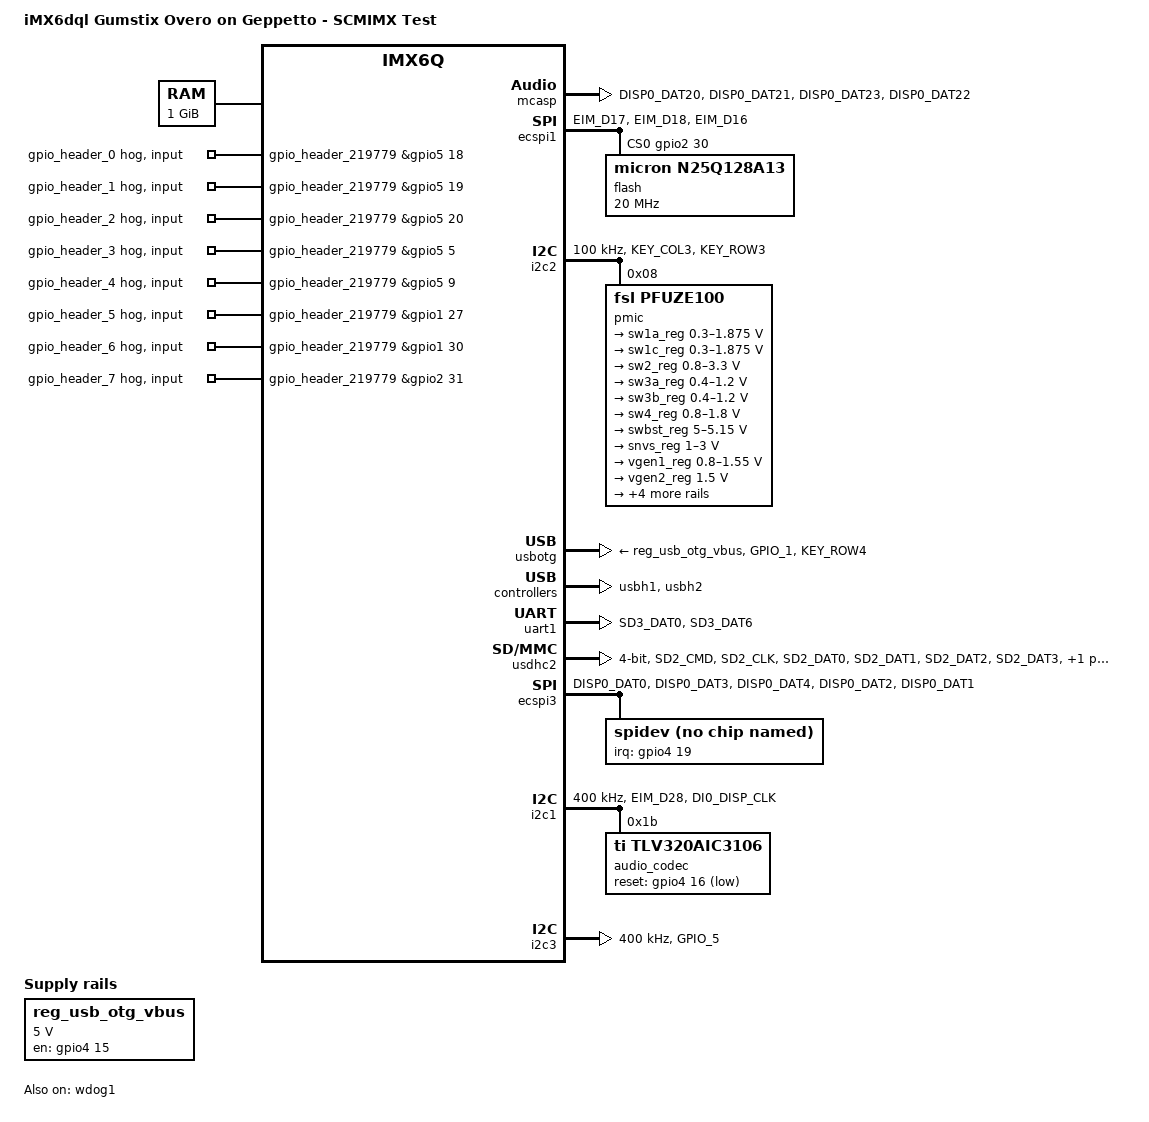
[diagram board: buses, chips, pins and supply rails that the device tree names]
/*
* Copyright (C) 2017 Gumstix, Inc. - https://www.gumstix.com/
*
* This program is free software; you can redistribute it and/or modify
* it under the terms of the GNU General Public License version 2 as
* published by the Free Software Foundation.
*/

/dts-v1/;

#include <dt-bindings/input/input.h>
#include <dt-bindings/interrupt-controller/irq.h>
#include <dt-bindings/gpio/gpio.h>
#define PIN_INPUT 0x1b0b1
#include "imx6q.dtsi"

/ {
    model = "iMX6dql Gumstix Overo on Geppetto - SCMIMX Test";
    compatible = "gumstix,imx6-scmimx-test", "gumstix,imx_scm", "fsl,imx6q";

    sound-hdmi {
		compatible = "fsl,imx6q-audio-hdmi", "fsl,imx-audio-hdmi";
		model = "imx-audio-hdmi";
		hdmi-controller = <&hdmi_audio>;
	};
    aliases {
		mxcfb0 = &mxcfb1;
		mxcfb1 = &mxcfb2;
		mxcfb2 = &mxcfb3;
		mxcfb3 = &mxcfb4;
	};

    soc {
        busfreq {
            fsl,max_ddr_freq = <400000000>;
            status = "okay";
        };
    };


	chosen {
		stdout-path = &uart1;
	};

	memory: memory {
		linux,usable-memory = <0x10000000 0x20000000
			       0x80000000 0x20000000>;
		reg = <0x10000000 0x40000000>;
	};

	regulators {
		compatible = "simple-bus";
		#address-cells = <1>;
		#size-cells = <0>;

		reg_usb_otg_vbus: regulator@0 {
			compatible = "regulator-fixed";
			reg = <0>;
			regulator-name = "usb_otg_vbus";
			regulator-min-microvolt = <5000000>;
			regulator-max-microvolt = <5000000>;
			gpio = <&gpio4 15 0>;
			enable-active-high;
		};
	};


	mxcfb1: fb@0 {
		compatible = "fsl,mxc_sdc_fb";
		disp_dev = "hdmi";
		interface_pix_fmt = "RGB24";
		mode_str ="1920x1080M@60";
		default_bpp = <24>;
		int_clk = <0>;
		late_init = <0>;
		status = "disabled";
	};

	mxcfb2: fb@1 {
		compatible = "fsl,mxc_sdc_fb";
		disp_dev = "hdmi";
		interface_pix_fmt = "RGB24";
		mode_str ="1920x1080M@60";
		default_bpp = <24>;
		int_clk = <0>;
		late_init = <0>;
		status = "disabled";
	};

	mxcfb3: fb@2 {
		compatible = "fsl,mxc_sdc_fb";
		disp_dev = "lcd";
		interface_pix_fmt = "RGB565";
		mode_str ="CLAA-WVGA";
		default_bpp = <16>;
		int_clk = <0>;
		late_init = <0>;
		status = "disabled";
	};

	mxcfb4: fb@3 {
		compatible = "fsl,mxc_sdc_fb";
		disp_dev = "ldb";
		interface_pix_fmt = "RGB666";
		default_bpp = <16>;
		int_clk = <0>;
		late_init = <0>;
		status = "disabled";
	};


    mcasp: mcasp {
        status = "disabled";
    };

    sound: sound_iface {
        status = "okay";
        compatible = "ti,da830-evm-audio";
        ti,mcasp-controller = <&mcasp>;
        ti,audio-routing = "Headphone Jack",
		"HPLOUT",
		"Headphone Jack",
		"HPROUT",
		"LINE1L",
		"Line In",
		"LINE1R",
		"Line In";
        ti,audio-codec = "audio_codec";
        ti,model = "AM437x-SK-EVM";
        ti,codec-clock-rate = <12000000>;
    };
    gpio_header_219779 {
        status = "okay";
        pinctrl-names = "default";
        pinctrl-0 = <&gpio_header_219779_default>;
        type = "gpio_header";

        gpio_header_0 {
            label = "gpio_header_0";
            type = "gpio_header";
            gpios = <&gpio5 18 0>;
            gpio-hog;
            input;
        };

        gpio_header_1 {
            label = "gpio_header_1";
            type = "gpio_header";
            gpios = <&gpio5 19 0>;
            gpio-hog;
            input;
        };

        gpio_header_2 {
            label = "gpio_header_2";
            type = "gpio_header";
            gpios = <&gpio5 20 0>;
            gpio-hog;
            input;
        };

        gpio_header_3 {
            label = "gpio_header_3";
            type = "gpio_header";
            gpios = <&gpio5 5 0>;
            gpio-hog;
            input;
        };

        gpio_header_4 {
            label = "gpio_header_4";
            type = "gpio_header";
            gpios = <&gpio5 9 0>;
            gpio-hog;
            input;
        };

        gpio_header_5 {
            label = "gpio_header_5";
            type = "gpio_header";
            gpios = <&gpio1 27 0>;
            gpio-hog;
            input;
        };

        gpio_header_6 {
            label = "gpio_header_6";
            type = "gpio_header";
            gpios = <&gpio1 30 0>;
            gpio-hog;
            input;
        };

        gpio_header_7 {
            label = "gpio_header_7";
            type = "gpio_header";
            gpios = <&gpio2 31 0>;
            gpio-hog;
            input;
        };
    };

};


&cpu0 {
	arm-supply = <&reg_arm>;
	soc-supply = <&reg_soc>;
};

&clks {
	fsl,ldb-di0-parent = <&clks IMX6QDL_CLK_PLL2_PFD0_352M>;
	fsl,ldb-di1-parent = <&clks IMX6QDL_CLK_PLL2_PFD0_352M>;
};

&ecspi1 {
	fsl,spi-num-chipselects = <1>;
	cs-gpios = <&gpio2 30 0>;
	pinctrl-names = "default";
	pinctrl-0 = <&pinctrl_ecspi1>;
	status = "okay";
	flash: m25p80@0 {
		#address-cells = <1>;
		#size-cells = <1>;
		compatible = "micron,n25q128a13";
		spi-max-frequency = <20000000>;
		reg = <0>;
	};
};



&i2c2 {
	clock-frequency = <100000>;
	pinctrl-names = "default";
	pinctrl-0 = <&pinctrl_i2c2>;
	status = "okay";

	pmic: pfuze100@08 {
		compatible = "fsl,pfuze100";
		reg = <0x08>;
		regulators {
			sw1a_reg: sw1ab {
				regulator-min-microvolt = <300000>;
				regulator-max-microvolt = <1875000>;
				regulator-boot-on;
				regulator-always-on;
				regulator-ramp-delay = <6250>;
			};

			sw1c_reg: sw1c {
				regulator-min-microvolt = <300000>;
				regulator-max-microvolt = <1875000>;
				regulator-boot-on;
				regulator-always-on;
				regulator-ramp-delay = <6250>;
			};

			sw2_reg: sw2 {
				regulator-min-microvolt = <800000>;
				regulator-max-microvolt = <3300000>;
				regulator-boot-on;
				regulator-always-on;
			};

			sw3a_reg: sw3a {
				regulator-min-microvolt = <400000>;
				regulator-max-microvolt = <1200000>;
				regulator-boot-on;
				regulator-always-on;
			};

			sw3b_reg: sw3b {
				regulator-min-microvolt = <400000>;
				regulator-max-microvolt = <1200000>;
				regulator-boot-on;
				regulator-always-on;
			};

			sw4_reg: sw4 {
				regulator-min-microvolt = <800000>;
				regulator-max-microvolt = <1800000>;
				regulator-boot-on;
				regulator-always-on;
			};

			swbst_reg: swbst {
				regulator-min-microvolt = <5000000>;
				regulator-max-microvolt = <5150000>;
				regulator-boot-on;
				regulator-always-on;
			};

			snvs_reg: vsnvs {
				regulator-min-microvolt = <1000000>;
				regulator-max-microvolt = <3000000>;
				regulator-boot-on;
				regulator-always-on;
			};

			vref_reg: vrefddr {
				regulator-boot-on;
				regulator-always-on;
			};

			vgen1_reg: vgen1 {
				regulator-min-microvolt = <800000>;
				regulator-max-microvolt = <1550000>;
				regulator-always-on;
			};

			vgen2_reg: vgen2 {
				regulator-min-microvolt = <0x16e360>;
				regulator-max-microvolt = <0x16e360>;
				regulator-always-on;
			};

			vgen3_reg: vgen3 {
				regulator-min-microvolt = <0x325aa0>;
				regulator-max-microvolt = <0x325aa0>;
				regulator-always-on;
			};

			vgen4_reg: vgen4 {
				regulator-min-microvolt = <1800000>;
				regulator-max-microvolt = <2500000>;
				regulator-always-on;
			};

			vgen5_reg: vgen5 {
				regulator-min-microvolt = <1800000>;
				regulator-max-microvolt = <3300000>;
				regulator-always-on;
			};

			vgen6_reg: vgen6 {
				regulator-min-microvolt = <1800000>;
				regulator-max-microvolt = <3150000>;
				regulator-always-on;
			};
		};
	};
};

&usbotg {
	vbus-supply = <&reg_usb_otg_vbus>;
	pinctrl-names = "default";
	pinctrl-0 = <&pinctrl_usbotg>;
	disable-over-current;
	srp-disable;
	hnp-disable;
	adp-disable;
	status = "okay";
};

&usbphy1 {
	tx-d-cal = <0x5>;
};

&usbphy2 {
	tx-d-cal = <0x5>;
};

&usbh1 {
	status = "okay";
};

&usbh2 {
	status = "okay";
};

&ecspi1 {
	fsl,spi-num-chipselects = <1>;
	cs-gpios = <&gpio2 30 0>;
	pinctrl-names = "default";
	pinctrl-0 = <&pinctrl_ecspi1>;
	status = "okay";
	flash: m25p80@0 {
		#address-cells = <1>;
		#size-cells = <1>;
		compatible = "micron,n25q128a13";
		spi-max-frequency = <20000000>;
		reg = <0>;
	};
};
&uart1 {
	pinctrl-names = "default";
	pinctrl-0 = <&pinctrl_uart1>;
	status = "okay";
};



&usdhc2 {
	pinctrl-names = "default";
	pinctrl-0 = <&pinctrl_usdhc2>;
	bus-width = <4>;
	cd-gpios = <&gpio1 4 GPIO_ACTIVE_LOW>;
	no-1-8-v;
	keep-power-in-suspend;
	enable-sdio-wakeup;
	status = "okay";
};

&gpc {
	/* use ldo-enable, u-boot will check it and configure */
	fsl,ldo-bypass = <0>;
	/* watchdog select of reset source */
	fsl,wdog-reset = <1>;
};

&wdog1 {
	status = "okay";
};

&wdog2 {
	status = "disabled";
};

&fec {
	local-mac-address = [06 CD 8C E9 08 0D];
};


// spi_buses device

&ecspi3 {
    status = "okay";
    pinctrl-names = "default";
    pinctrl-0 = <&ecspi3_default>;
    type = "spi";

        spidev {
            compatible = "spidev";
            type = "spi";
    
            interrupt-parent = <&gpio4>;
            interrupts =<19 0>;
        };
};

// uart1 device

&uart1 {
    status = "okay";
    pinctrl-names = "default";
    pinctrl-0 = <&uart1_default>;
    type = "uart";
};

// asp device

&mcasp {
    status = "okay";
    pinctrl-names = "default";
    pinctrl-0 = <&audio_default>;
    op-mode = <0>;
    tx-num-evt = <1>;
    rx-num-evt = <1>;
    serial-dir = <1 2 0 0 0 0 0 0 0 0 0 0 0 0 0 0>;
    tdm-slots = <2>;
    type = "audio";
};

// usb device


// i2c_buses device

&i2c1 {
    status = "okay";
    pinctrl-names = "default";
    pinctrl-0 = <&i2c1_default>;
    clock-frequency = <400000>;

        audio_codec: audio_codec@1b {
            reg = <27>;
            compatible = "ti,tlv320aic3106";
            ai3x-micbias-vg = <2>;
            type = "audio";
            gpio-reset = <&gpio4 16 GPIO_ACTIVE_LOW>;
        };
};
&i2c3 {
    status = "okay";
    pinctrl-names = "default";
    pinctrl-0 = <&i2c3_default>;
    clock-frequency = <400000>;
};


&iomuxc {
	pinctrl-names = "default";
	pinctrl-0 = <&pinctrl_hog>;

	imx6qdl-geppetto {
		pinctrl_hog: hoggrp {
			fsl,pins = <
				MX6QDL_PAD_NANDF_D0__GPIO2_IO00 0x80000000
				MX6QDL_PAD_NANDF_CS1__GPIO6_IO14 0x80000000
				MX6QDL_PAD_NANDF_CS2__GPIO6_IO15 0x80000000
				MX6QDL_PAD_KEY_COL2__GPIO4_IO10 0x80000000
				MX6QDL_PAD_EIM_EB2__GPIO2_IO30 0x80000000
				MX6QDL_PAD_EIM_D22__GPIO3_IO22  0x80000000
			>;
		};
		pinctrl_usbotg: usbotggrp {
			fsl,pins = <
				MX6QDL_PAD_GPIO_1__USB_OTG_ID		0x17059
				MX6QDL_PAD_KEY_ROW4__GPIO4_IO15		0x17059
			>;
		};
		pinctrl_ecspi1: ecspi1grp {
			fsl,pins = <
				MX6QDL_PAD_EIM_D17__ECSPI1_MISO 0x100b1
				MX6QDL_PAD_EIM_D18__ECSPI1_MOSI 0x100b1
				MX6QDL_PAD_EIM_D16__ECSPI1_SCLK 0x100b1
			>;
		};


		pinctrl_i2c2: i2c2grp {
			fsl,pins = <
				MX6QDL_PAD_KEY_COL3__I2C2_SCL	0x4001b8b1
				MX6QDL_PAD_KEY_ROW3__I2C2_SDA	0x4001b8b1
			 >;
		};
		pinctrl_uart1: uart1grp {
			fsl,pins = <
				MX6QDL_PAD_CSI0_DAT10__UART1_TX_DATA	0x1b0b1
				MX6QDL_PAD_CSI0_DAT11__UART1_RX_DATA	0x1b0b1
			>;
		};

		pinctrl_usdhc2: usdhc2grp {
			fsl,pins = <
				MX6QDL_PAD_SD2_CMD__SD2_CMD		0x17059
				MX6QDL_PAD_SD2_CLK__SD2_CLK		0x10059
				MX6QDL_PAD_SD2_DAT0__SD2_DATA0		0x17059
				MX6QDL_PAD_SD2_DAT1__SD2_DATA1		0x17059
				MX6QDL_PAD_SD2_DAT2__SD2_DATA2		0x17059
				MX6QDL_PAD_SD2_DAT3__SD2_DATA3		0x17059
			>;
		};

	};
};
&iomuxc {
    geppetto {
        i2c3_default: i2c3grp {
            fsl,pins = <
                MX6QDL_PAD_GPIO_5__I2C3_SCL PIN_INPUT /* gpio_5.i2c3_scl */
            >;
        };
        i2c1_default: i2c1grp {
            fsl,pins = <
                MX6QDL_PAD_EIM_D28__I2C1_SDA PIN_INPUT /* eim_d28.i2c1_sda */
                MX6QDL_PAD_DI0_DISP_CLK__GPIO4_IO16 PIN_INPUT /* di0_disp_clk.gpio4_io16 */
            >;
        };
        audio_default: audiogrp {
            fsl,pins = <
                MX6QDL_PAD_DISP0_DAT20__AUD4_TXC PIN_INPUT /* disp0_dat20.aud4_txc */
                MX6QDL_PAD_DISP0_DAT21__AUD4_TXD PIN_INPUT /* disp0_dat21.aud4_txd */
                MX6QDL_PAD_DISP0_DAT23__AUD4_RXD PIN_INPUT /* disp0_dat23.aud4_rxd */
                MX6QDL_PAD_DISP0_DAT22__AUD4_TXFS PIN_INPUT /* disp0_dat22.aud4_txfs */
            >;
        };
        root_gpios_default: root_gpiosgrp {
            fsl,pins = <
                NONEDI0_PIN3__GPIO4_IO19 PIN_INPUT /* di0_pin3.gpio4_io19 */
            >;
        };
        uart1_default: uart1grp {
            fsl,pins = <
                MX6QDL_PAD_SD3_DAT0__UART1_CTS_B PIN_INPUT /* sd3_dat0.uart1_cts_b */
                MX6QDL_PAD_SD3_DAT6__UART1_RX_DATA PIN_INPUT /* sd3_dat6.uart1_rx_data */
            >;
        };
        ecspi3_default: ecspi3grp {
            fsl,pins = <
                MX6QDL_PAD_DISP0_DAT0__ECSPI3_SCLK PIN_INPUT /* disp0_dat0.ecspi3_sclk */
                MX6QDL_PAD_DISP0_DAT3__ECSPI3_SS0 PIN_INPUT /* disp0_dat3.ecspi3_ss0 */
                MX6QDL_PAD_DISP0_DAT4__ECSPI3_SS1 PIN_INPUT /* disp0_dat4.ecspi3_ss1 */
                MX6QDL_PAD_DISP0_DAT2__ECSPI3_MISO PIN_INPUT /* disp0_dat2.ecspi3_miso */
                MX6QDL_PAD_DISP0_DAT1__ECSPI3_MOSI PIN_INPUT /* disp0_dat1.ecspi3_mosi */
            >;
        };
        gpio_header_219779_default: gpio_header_219779grp {
            fsl,pins = <
                MX6QDL_PAD_CSI0_PIXCLK__GPIO5_IO18 PIN_INPUT /* csi0_pixclk.gpio5_io18 */
                MX6QDL_PAD_CSI0_MCLK__GPIO5_IO19 PIN_INPUT /* csi0_mclk.gpio5_io19 */
                MX6QDL_PAD_CSI0_DATA_EN__GPIO5_IO20 PIN_INPUT /* csi0_data_en.gpio5_io20 */
                MX6QDL_PAD_DISP0_DAT11__GPIO5_IO05 PIN_INPUT /* disp0_dat11.gpio5_io05 */
                MX6QDL_PAD_DISP0_DAT15__GPIO5_IO09 PIN_INPUT /* disp0_dat15.gpio5_io09 */
                MX6QDL_PAD_ENET_RXD0__GPIO1_IO27 PIN_INPUT /* enet_rxd0.gpio1_io27 */
                MX6QDL_PAD_ENET_TXD0__GPIO1_IO30 PIN_INPUT /* enet_txd0.gpio1_io30 */
                MX6QDL_PAD_EIM_EB3__GPIO2_IO31 PIN_INPUT /* eim_eb3.gpio2_io31 */
            >;
        };
    };
};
